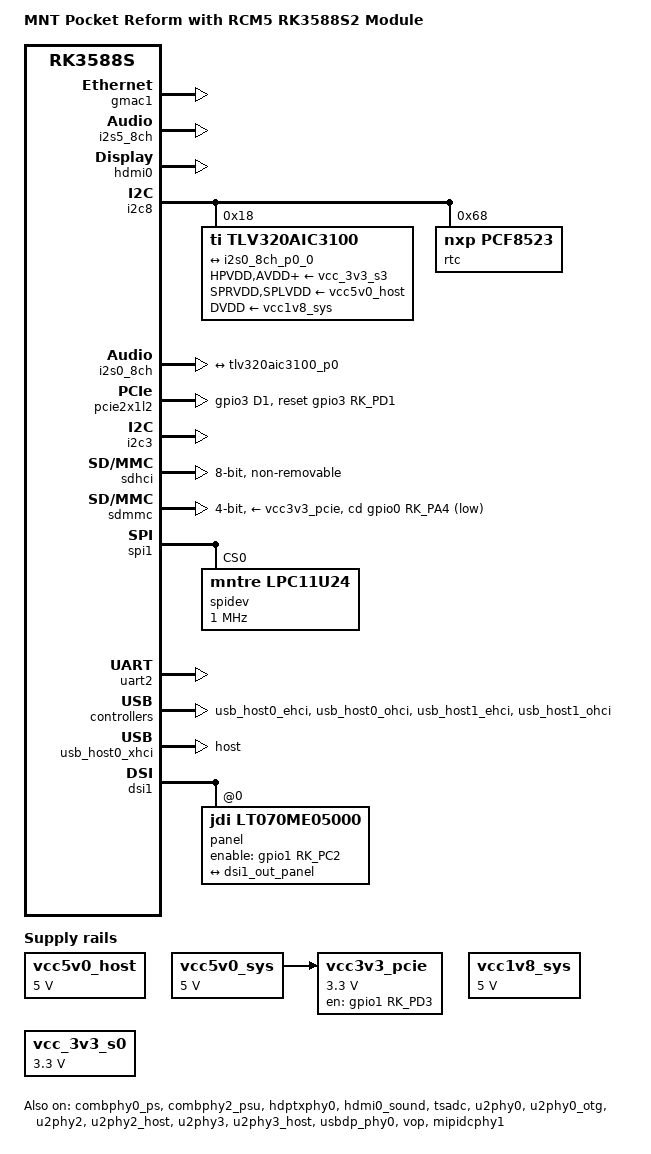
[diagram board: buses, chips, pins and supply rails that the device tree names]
// SPDX-License-Identifier: (GPL-2.0+ OR MIT)
/*
 * Copyright (c) 2021 Rockchip Electronics Co., Ltd.
 * Copyright (c) 2024 MNT Research GmbH
 *
 */

/dts-v1/;

#include <dt-bindings/gpio/gpio.h>
#include <dt-bindings/input/input.h>
#include <dt-bindings/pinctrl/rockchip.h>
#include <dt-bindings/usb/pd.h>
#include <dt-bindings/soc/rockchip,vop2.h>
#include "rk3588s.dtsi"
#include "rk3588s-radxa-cm5.dtsi"

/ {
	model = "MNT Pocket Reform with RCM5 RK3588S2 Module";
	compatible = "mntre,pocket-reform-rcore", "radxa,cm5", "rockchip,rk3588s";

	aliases {
		ethernet0 = &gmac1;
		serial2 = &uart2;
		mmc0 = &sdhci;
		mmc1 = &sdmmc;
	};

	chosen {
		stdout-path = "serial2:1500000n8";
	};

	analog-sound {
		compatible = "audio-graph-card";
		label = "rk3588-tlv320aic3100";

		widgets =
			"Headphone", "Headphone Jack",
			"Microphone", "Microphone Jack",
			"Speaker", "Speaker";

		routing =
		"MIC1RP", "MICBIAS",
		"MIC1RP", "Microphone Jack",
		"Headphone Jack", "HPR",
		"Speaker", "SPK";

		dais = <&i2s0_8ch_p0>;
	};

	vcc5v0_host: vcc5v0-host {
		compatible = "regulator-fixed";
		regulator-name = "vcc5v0_host";
		regulator-boot-on;
		regulator-always-on;
		regulator-min-microvolt = <5000000>;
		regulator-max-microvolt = <5000000>;
	};

	vcc5v0_sys: vcc5v0-sys {
		compatible = "regulator-fixed";
		regulator-name = "vcc5v0_sys";
		regulator-always-on;
		regulator-boot-on;
		regulator-min-microvolt = <5000000>;
		regulator-max-microvolt = <5000000>;
	};

	vcc1v8_sys: vcc5v0-sys {
		compatible = "regulator-fixed";
		regulator-name = "vcc1v8_sys";
		regulator-always-on;
		regulator-boot-on;
		regulator-min-microvolt = <5000000>;
		regulator-max-microvolt = <5000000>;
	};

	vcc3v3_pcie: regulator-3v3-vcc-pcie {
		compatible = "regulator-fixed";
		regulator-name = "vcc3v3_pcie2x1l0";
		regulator-min-microvolt = <3300000>;
		regulator-max-microvolt = <3300000>;
		enable-active-high;
		gpios = <&gpio1 RK_PD3 GPIO_ACTIVE_HIGH>;
		startup-delay-us = <50000>;
		vin-supply = <&vcc5v0_sys>;
	};

	vcc_3v3_s0: pldo-reg4 {
		compatible = "regulator-fixed";
		regulator-name = "vcc_3v3_s0";
		regulator-always-on;
		regulator-boot-on;
		regulator-min-microvolt = <3300000>;
		regulator-max-microvolt = <3300000>;
		regulator-ramp-delay = <12500>;

		regulator-state-mem {
			regulator-off-in-suspend;
		};
	};
};

&combphy0_ps {
	status = "okay";
};

/*&combphy1_ps {
	status = "okay";
};*/

&combphy2_psu {
	status = "okay";
};

&display_subsystem {
	clocks = <&hdptxphy0>; //, <&hdptxphy1>;
	clock-names = "pll_hdmiphy0"; //, "pll_hdmiphy1";
};

&gmac1 {
	status = "okay";
};

&hdptxphy0 {
	status = "okay";
};

&hdmi0_sound {
	status = "okay";
};

&i2s5_8ch {
	status = "okay";
};

&hdmi0 {
	status = "okay";
};

&hdmi0_in {
	hdmi0_in_vp0: endpoint {
		remote-endpoint = <&vp0_out_hdmi0>;
	};
};

/*&hdptxphy1 {
	status = "okay";
};*/

&i2c8 {
	status = "okay";
	pinctrl-names = "default";
	pinctrl-0 = <&i2c8m2_xfer>;

	tlv320aic3100: codec@18 {
		compatible = "ti,tlv320aic3100";
		reg = <0x18>;
		assigned-clocks = <&cru I2S0_8CH_MCLKOUT>;
		assigned-clock-rates = <12288000>;
		clocks = <&cru I2S0_8CH_MCLKOUT>;
		clock-names = "mclk";
		ai31xx-micbias-vg = <2>;
		#sound-dai-cells = <0>;

		HPVDD-supply = <&vcc_3v3_s3>;
		SPRVDD-supply = <&vcc5v0_host>;
		SPLVDD-supply = <&vcc5v0_host>;
		AVDD-supply = <&vcc_3v3_s3>;
		IOVDD-supply = <&vcc_3v3_s3>;
		DVDD-supply = <&vcc1v8_sys>;

		status = "okay";

		port {
			tlv320aic3100_p0: endpoint {
				remote-endpoint = <&i2s0_8ch_p0_0>;
			};
		};
	};

	rtc@68 {
		compatible = "nxp,pcf8523";
		reg = <0x68>;
	};
};

&i2s0_8ch {
	pinctrl-names = "default";
	pinctrl-0 = <&i2s0_lrck
		     &i2s0_mclk
		     &i2s0_sclk
		     &i2s0_sdi0
		     &i2s0_sdo0>;
	status = "okay";

	i2s0_8ch_p0: port {
		i2s0_8ch_p0_0: endpoint {
			dai-format = "i2s";
			remote-endpoint = <&tlv320aic3100_p0>;
		};
	};
};

&pcie2x1l2 {
	/* checked, correct */
	reset-gpios = <&gpio3 RK_PD1 GPIO_ACTIVE_HIGH>;
	pinctrl-names = "default";
	pinctrl-0 = <&pcie2_0_rst>;
	status = "okay";
};

/*&pcie2x1l1 {
	reset-gpios = <&gpio3 RK_PA0 GPIO_ACTIVE_HIGH>;
	pinctrl-names = "default";
	pinctrl-0 = <&pcie2_1_rst>;
	status = "okay";
};*/

/*&pcie30phy {
	status = "okay";
};*/

/*&pcie3x4 {
	pinctrl-names = "default";
	pinctrl-0 = <&pcie3_reset>;
	reset-gpios = <&gpio1 RK_PB4 GPIO_ACTIVE_HIGH>;
	num-lanes = <4>;
	vpcie3v3-supply = <&vcc3v3_pcie30>;
	status = "okay";
};*/

&i2c3 {
	status = "okay";
};

&tsadc {
	status = "okay";
};

&sdhci {
	bus-width = <8>;
	no-sdio;
	no-sd;
	non-removable;
	max-frequency = <150000000>;
	mmc-hs400-1_8v;
	mmc-hs400-enhanced-strobe;
	status = "okay";
};

&sdmmc {
	bus-width = <4>;
	max-frequency = <20000000>;
	no-sdio;
	no-mmc;
	no-1-8-v;
	cap-sd-highspeed;
	vqmmc-supply = <&vcc3v3_pcie>;
	vmmc-supply = <&vcc3v3_pcie>;
	cd-gpios = <&gpio0 RK_PA4 GPIO_ACTIVE_LOW>;
	disable-wp;
	status = "okay";
};

&spi1 {
	status = "okay";
	assigned-clocks = <&cru CLK_SPI1>;
	assigned-clock-rates = <200000000>;
	pinctrl-names = "default";
	pinctrl-0 = <&spi1m2_cs0 &spi1m2_pins>;
	num-cs = <1>;

	spidev@0 {
		compatible = "mntre,lpc11u24";
		spi-max-frequency = <1000000>;
		reg = <0>;
	};
};

/*&mdio0 {
	rgmii_phy: ethernet-phy@0 {
		compatible = "ethernet-phy-ieee802.3-c22";
		reg = <0x0>;
	};
};*/

&pinctrl {
	keys {
		lpc_wakeup: lpc-wakeup {
			rockchip,pins = <4 RK_PB2 RK_FUNC_GPIO &pcfg_pull_down>;
		};
	};

	pcie2 {
		pcie2_0_rst: pcie2-0-rst {
			rockchip,pins = <3 RK_PD1 RK_FUNC_GPIO &pcfg_pull_none>;
		};
	};

	pcie2_1 {
		pcie2_1_rst: pcie2-1-reset {
			rockchip,pins = <3 RK_PA0 RK_FUNC_GPIO &pcfg_pull_none>;
		};
	};

	pcie3 {
		pcie3_reset: pcie3-reset {
			rockchip,pins = <1 RK_PB4 RK_FUNC_GPIO &pcfg_pull_none>;
		};
	};

	eth_phy {
		eth_phy_reset: eth-phy-reset {
			rockchip,pins = <3 RK_PC7 RK_FUNC_GPIO &pcfg_pull_none>;
		};
	};
};

&u2phy0 {
	status = "okay";
};

&u2phy0_otg {
	status = "okay";
};

&u2phy2 {
	status = "okay";
};

&u2phy2_host {
	phy-supply = <&vcc5v0_host>;
	status = "okay";
};

&u2phy3 {
	status = "okay";
};

&u2phy3_host {
	phy-supply = <&vcc5v0_host>;
	status = "okay";
};

&uart2 {
	pinctrl-0 = <&uart2m0_xfer>;
	status = "okay";
};

&usb_host0_ehci {
	status = "okay";
};

&usb_host0_ohci {
	status = "okay";
};

&usb_host1_ehci {
	status = "okay";
};

&usb_host1_ohci {
	status = "okay";
};

&usbdp_phy0 {
	status = "okay";
};

&usb_host0_xhci {
	dr_mode = "host";
	status = "okay";
};

&vop_mmu {
	status = "okay";
};

&vop {
	status = "okay";
};

&vp0 {
	vp0_out_hdmi0: endpoint@ROCKCHIP_VOP2_EP_HDMI0 {
		reg = <ROCKCHIP_VOP2_EP_HDMI0>;
		remote-endpoint = <&hdmi0_in_vp0>;
	};
};

&dsi1 {
	status = "okay";
	rockchip,lane-rate = <972000>;

	panel {
		compatible = "jdi,lt070me05000";
		reg = <0>;

		// reset is driven by rp2040
		// dcdc en is also driven by rp2040
		// actually backlight enable
		enable-gpios = <&gpio1 RK_PC2 GPIO_ACTIVE_HIGH>;
		no-eot-hfp-hbp-hsa;

		port {
			mipi_panel_in: endpoint {
				remote-endpoint = <&dsi1_out_panel>;
			};
		};
	};
};

&dsi1_in {
	dsi1_in_vp2: endpoint {
		remote-endpoint = <&vp2_out_dsi1>;
	};
};

&dsi1_out {
	dsi1_out_panel: endpoint {
		remote-endpoint = <&mipi_panel_in>;
	};
};

&vp2 {
	assigned-clocks = <&cru DCLK_VOP2_SRC>;
	assigned-clock-parents = <&cru PLL_V0PLL>;

	vp2_out_dsi1: endpoint@ROCKCHIP_VOP2_EP_MIPI1 {
		reg = <ROCKCHIP_VOP2_EP_MIPI1>;
		remote-endpoint = <&dsi1_in_vp2>;
	};
};

&mipidcphy1 {
	status = "okay";
};
